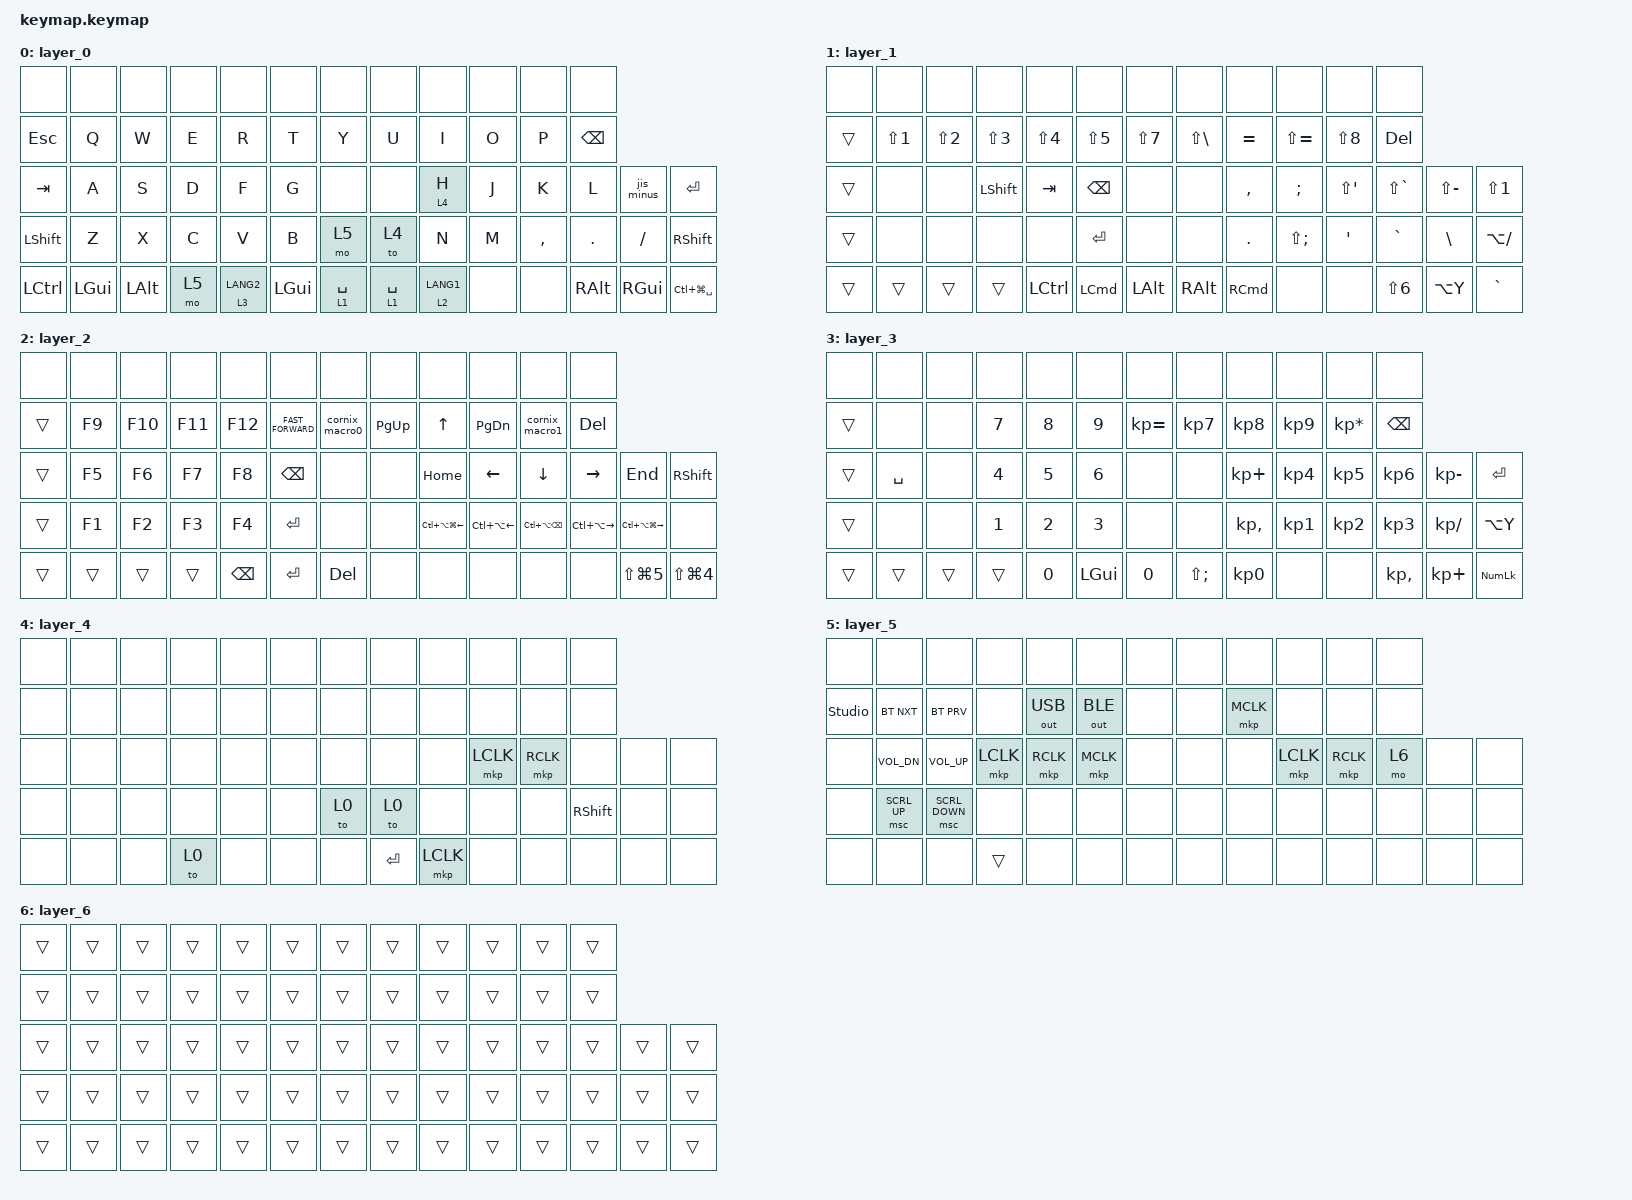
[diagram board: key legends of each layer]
#include <behaviors.dtsi>
#include <dt-bindings/zmk/bt.h>
#include <dt-bindings/zmk/keys.h>
#include <dt-bindings/zmk/outputs.h>
#include <dt-bindings/zmk/pointing.h>


/ {
    behaviors {
        jis_minus: jis_minus {
            compatible = "zmk,behavior-mod-morph";
            #binding-cells = <0>;
            bindings = <&kp MINUS>, <&kp EQUAL>;
            mods = <(MOD_LSFT|MOD_RSFT)>;
        };
        lt150: lt_150 {
            compatible = "zmk,behavior-hold-tap";
            #binding-cells = <2>;
            tapping-term-ms = <150>;
            flavor = "hold-preferred";
            bindings = <&mo>, <&kp>;
        };
        lt250: lt_250 {
            compatible = "zmk,behavior-hold-tap";
            #binding-cells = <2>;
            tapping-term-ms = <250>;
            flavor = "hold-preferred";
            bindings = <&mo>, <&kp>;
        };
    };
    macros {
        cornix_macro0: cornix_macro_0 {
            compatible = "zmk,behavior-macro";
            #binding-cells = <0>;
            bindings = <&kp LG(LS(LC(N))) &kp LC(LA(LEFT))>;
        };
        cornix_macro1: cornix_macro_1 {
            compatible = "zmk,behavior-macro";
            #binding-cells = <0>;
            bindings = <&kp LG(LS(LC(N))) &kp LC(LA(RIGHT))>;
        };
    };

    keymap {
        compatible = "zmk,keymap";
        layer_0 {
            bindings = <
                &none  &none  &none  &none  &none  &none  &none  &none  &none  &none  &none  &none
                &kp ESC  &kp Q  &kp W  &kp E  &kp R  &kp T  &kp Y  &kp U  &kp I  &kp O  &kp P  &kp BSPC
                &kp TAB  &kp A  &kp S  &kp D  &kp F  &kp G  &none  &none  &lt150 4 H  &kp J  &kp K  &kp L  &jis_minus  &kp RET
                &kp LSHFT  &kp Z  &kp X  &kp C  &kp V  &kp B  &mo 5  &to 4  &kp N  &kp M  &kp COMMA  &kp DOT  &kp FSLH  &kp RSHFT
                &kp LCTRL  &kp LGUI  &kp LALT  &mo 5  &lt250 3 LANG2  &kp LGUI  &lt150 1 SPACE  &lt150 1 SPACE  &lt150 2 LANG1  &none  &none  &kp RALT  &kp RGUI  &kp LC(LG(SPACE))
            >;
        };
        layer_1 {
            bindings = <
                &none  &none  &none  &none  &none  &none  &none  &none  &none  &none  &none  &none
                &trans  &kp LS(N1)  &kp LS(N2)  &kp LS(N3)  &kp LS(N4)  &kp LS(N5)  &kp LS(N7)  &kp LS(BSLH)  &kp EQUAL  &kp LS(EQUAL)  &kp LS(N8)  &kp DEL
                &trans  &none  &none  &kp LSHFT  &kp TAB  &kp BSPC  &none  &none  &kp COMMA  &kp SEMI  &kp LS(SQT)  &kp LS(GRAVE)  &kp LS(MINUS)  &kp LS(N1)
                &trans  &none  &none  &none  &none  &kp RET  &none  &none  &kp DOT  &kp LS(SEMI)  &kp SQT  &kp GRAVE  &kp BSLH  &kp LA(FSLH)
                &trans  &trans  &trans  &trans  &kp LCTRL  &kp LCMD  &kp LALT  &kp RALT  &kp RCMD  &none  &none  &kp LS(N6)  &kp LA(Y)  &kp GRAVE
            >;
        };
        layer_2 {
            bindings = <
                &none  &none  &none  &none  &none  &none  &none  &none  &none  &none  &none  &none
                &trans  &kp F9  &kp F10  &kp F11  &kp F12  &kp C_FAST_FORWARD  &cornix_macro0  &kp PG_UP  &kp UP  &kp PG_DN  &cornix_macro1  &kp DEL
                &trans  &kp F5  &kp F6  &kp F7  &kp F8  &kp BSPC  &none  &none  &kp HOME  &kp LEFT  &kp DOWN  &kp RIGHT  &kp END  &kp RSHFT
                &trans  &kp F1  &kp F2  &kp F3  &kp F4  &kp RET  &none  &none  &kp LC(LA(LG(LEFT)))  &kp LC(LA(LEFT))  &kp LC(LA(BSPC))  &kp LC(LA(RIGHT))  &kp LC(LA(LG(RIGHT)))  &none
                &trans  &trans  &trans  &trans  &kp BSPC  &kp RET  &kp DEL  &none  &none  &none  &none  &none  &kp LS(LG(N5))  &kp LS(LG(N4))
            >;
        };
        layer_3 {
            bindings = <
                &none  &none  &none  &none  &none  &none  &none  &none  &none  &none  &none  &none
                &trans  &none  &none  &kp N7  &kp N8  &kp N9  &kp KP_EQUAL  &kp KP_N7  &kp KP_N8  &kp KP_N9  &kp KP_MULTIPLY  &kp BSPC
                &trans  &kp SPACE  &none  &kp N4  &kp N5  &kp N6  &none  &none  &kp KP_PLUS  &kp KP_N4  &kp KP_N5  &kp KP_N6  &kp KP_SUBTRACT  &kp RET
                &trans  &none  &none  &kp N1  &kp N2  &kp N3  &none  &none  &kp KP_COMMA  &kp KP_N1  &kp KP_N2  &kp KP_N3  &kp KP_DIVIDE  &kp LA(Y)
                &trans  &trans  &trans  &trans  &kp N0  &kp LGUI  &kp N0  &kp LS(SEMI)  &kp KP_N0  &none  &none  &kp KP_COMMA  &kp KP_PLUS  &kp KP_NUMLOCK
            >;
        };
        layer_4 {
            bindings = <
                &none  &none  &none  &none  &none  &none  &none  &none  &none  &none  &none  &none
                &none  &none  &none  &none  &none  &none  &none  &none  &none  &none  &none  &none
                &none  &none  &none  &none  &none  &none  &none  &none  &none  &mkp LCLK  &mkp RCLK  &none  &none  &none
                &none  &none  &none  &none  &none  &none  &to 0  &to 0  &none  &none  &none  &kp RSHFT  &none  &none
                &none  &none  &none  &to 0  &none  &none  &none  &kp RET  &mkp LCLK  &none  &none  &none  &none  &none
            >;
        };
        layer_5 {
            bindings = <
                &none  &none  &none  &none  &none  &none  &none  &none  &none  &none  &none  &none
                &studio_unlock  &bt BT_NXT  &bt BT_PRV  &none  &out OUT_USB  &out OUT_BLE  &none  &none  &mkp MCLK  &none  &none  &none
                &none  &kp C_VOL_DN  &kp C_VOL_UP  &mkp LCLK  &mkp RCLK  &mkp MCLK  &none  &none  &none  &mkp LCLK  &mkp RCLK  &mo 6  &none  &none
                &none  &msc SCRL_UP  &msc SCRL_DOWN  &none  &none  &none  &none  &none  &none  &none  &none  &none  &none  &none
                &none  &none  &none  &trans  &none  &none  &none  &none  &none  &none  &none  &none  &none  &none
            >;
        };
        layer_6 {
            bindings = <
                &trans  &trans  &trans  &trans  &trans  &trans  &trans  &trans  &trans  &trans  &trans  &trans
                &trans  &trans  &trans  &trans  &trans  &trans  &trans  &trans  &trans  &trans  &trans  &trans
                &trans  &trans  &trans  &trans  &trans  &trans  &trans  &trans  &trans  &trans  &trans  &trans  &trans  &trans
                &trans  &trans  &trans  &trans  &trans  &trans  &trans  &trans  &trans  &trans  &trans  &trans  &trans  &trans
                &trans  &trans  &trans  &trans  &trans  &trans  &trans  &trans  &trans  &trans  &trans  &trans  &trans  &trans
            >;
        };
    };
};

